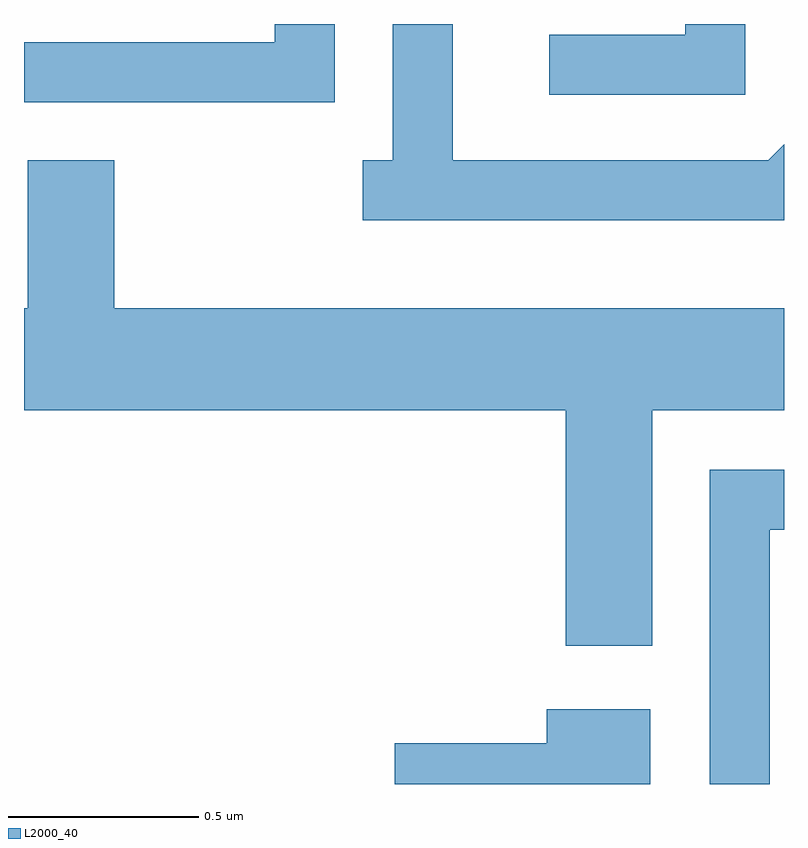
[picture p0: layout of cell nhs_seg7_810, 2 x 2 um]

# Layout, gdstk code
import gdstk
lib = gdstk.Library(unit=1e-6, precision=1e-09)
def P(c, l, *ps):  # polygons
    for p in ps: c.add(gdstk.Polygon(p, *l))
L2000_40 = (2000, 40)

nhs_seg7_810 = lib.new_cell('nhs_seg7_810')
P(nhs_seg7_810, L2000_40, [(192.509,1795.252),(192.351,1795.252),(192.351,1795.224),(191.993,1795.224),(191.993,1795.066),(192.509,1795.066)],
  [(191.429,1795.252),(191.271,1795.252),(191.271,1795.204),(190.611,1795.204),(190.611,1795.046),(191.429,1795.046)],
  [(192.611,1794.936),(192.569,1794.894),(191.739,1794.894),(191.739,1795.252),(191.581,1795.252),(191.581,1794.894),(191.503,1794.894),(191.503,1794.736),(192.611,1794.736)],
  [(192.264,1794.236),(192.611,1794.236),(192.611,1794.504),(190.849,1794.504),(190.849,1794.894),(190.621,1794.894),(190.621,1794.504),(190.611,1794.504),(190.611,1794.236),(192.036,1794.236),(192.036,1793.616),(192.264,1793.616)],
  [(192.574,1793.921),(192.611,1793.921),(192.611,1794.079),(192.416,1794.079),(192.416,1793.252),(192.574,1793.252)],
  [(192.259,1793.449),(191.986,1793.449),(191.986,1793.359),(191.586,1793.359),(191.586,1793.252),(192.259,1793.252)])

lib.write_gds('nhs_seg7_810.gds')
